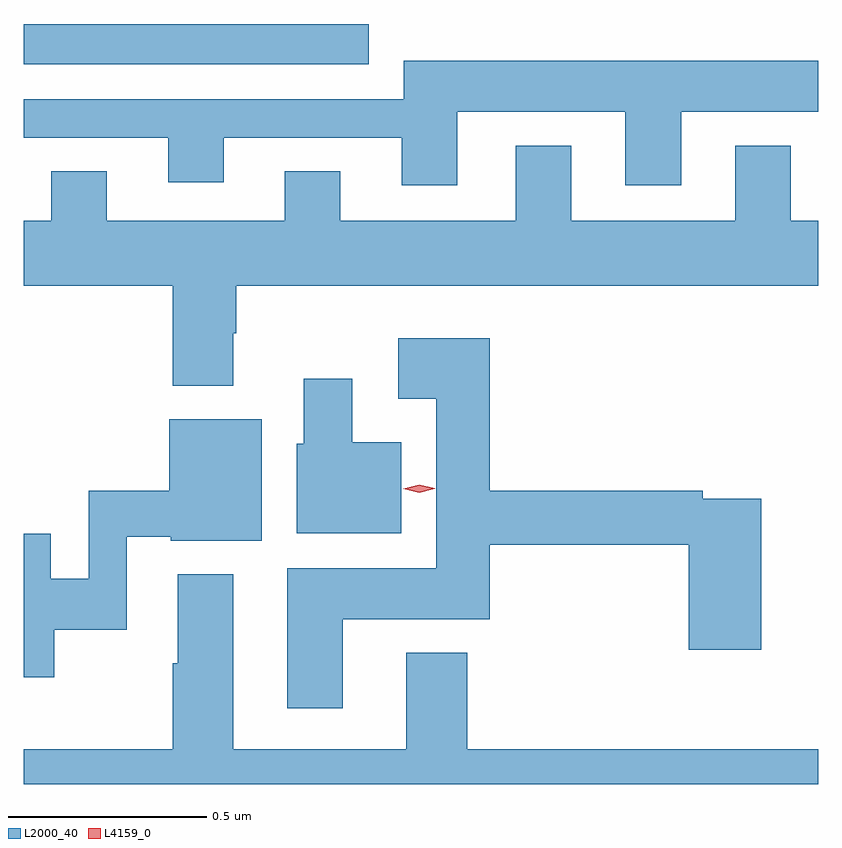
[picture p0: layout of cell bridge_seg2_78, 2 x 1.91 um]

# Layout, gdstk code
import gdstk
lib = gdstk.Library(unit=1e-6, precision=1e-09)
def R(c, l, rs):  # rectangles x0, y0, x1, y1
    for r in rs: c.add(gdstk.rectangle(r[:2], r[2:], *l))
def P(c, l, *ps):  # polygons
    for p in ps: c.add(gdstk.Polygon(p, *l))
L2000_40 = (2000, 40)
L4159_0 = (4159, 0)

bridge_seg2_78 = lib.new_cell('bridge_seg2_78')
R(bridge_seg2_78, L2000_40, [(363.902,657.518,364.771,657.619)])
P(bridge_seg2_78, L2000_40, [(364.993,657.398),(365.417,657.398),(365.417,657.213),(365.557,657.213),(365.557,657.398),(365.902,657.398),(365.902,657.526),(364.859,657.526),(364.859,657.429),(363.902,657.429),(363.902,657.333),(364.265,657.333),(364.265,657.221),(364.405,657.221),(364.405,657.333),(364.853,657.333),(364.853,657.213),(364.993,657.213)],
  [(364.429,656.84),(364.437,656.84),(364.437,656.96),(365.902,656.96),(365.902,657.124),(365.833,657.124),(365.833,657.313),(365.693,657.313),(365.693,657.124),(365.281,657.124),(365.281,657.313),(365.141,657.313),(365.141,657.124),(364.699,657.124),(364.699,657.248),(364.559,657.248),(364.559,657.124),(364.111,657.124),(364.111,657.248),(363.971,657.248),(363.971,657.124),(363.902,657.124),(363.902,656.96),(364.277,656.96),(364.277,656.708),(364.429,656.708)],
  [(364.705,656.12),(365.075,656.12),(365.075,656.308),(365.576,656.308),(365.576,656.043),(365.759,656.043),(365.759,656.424),(365.612,656.424),(365.612,656.444),(365.075,656.444),(365.075,656.827),(364.845,656.827),(364.845,656.675),(364.94,656.675),(364.94,656.248),(364.565,656.248),(364.565,655.896),(364.705,655.896)],
  [(364.852,656.566),(364.729,656.566),(364.729,656.725),(364.607,656.725),(364.607,656.562),(364.589,656.562),(364.589,656.336),(364.852,656.336)],
  [(363.978,656.094),(364.161,656.094),(364.161,656.328),(364.272,656.328),(364.272,656.318),(364.501,656.318),(364.501,656.623),(364.268,656.623),(364.268,656.444),(364.065,656.444),(364.065,656.222),(363.97,656.222),(363.97,656.335),(363.902,656.335),(363.902,655.974),(363.978,655.974)],
  [(365.902,655.792),(365.018,655.792),(365.018,656.035),(364.865,656.035),(364.865,655.792),(364.429,655.792),(364.429,656.233),(364.289,656.233),(364.289,656.009),(364.277,656.009),(364.277,655.792),(363.902,655.792),(363.902,655.705),(365.902,655.705)])
P(bridge_seg2_78, L4159_0, [(364.897,656.439),(364.857,656.449),(364.857,656.449),(364.857,656.449),(364.897,656.459),(364.936,656.45),(364.937,656.45),(364.936,656.449)])

lib.write_gds('bridge_seg2_78.gds')
